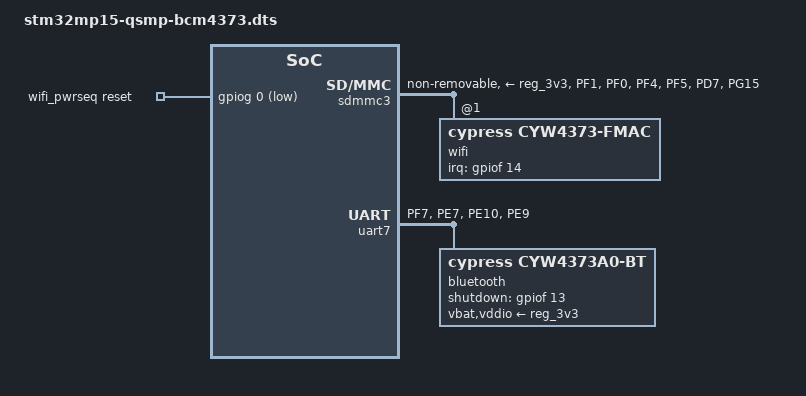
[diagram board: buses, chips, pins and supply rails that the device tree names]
// SPDX-License-Identifier: (GPL-2.0-or-later OR BSD-2-Clause)
/*
 * Copyright (C) 2024 Lothar Waßmann <LW@KARO-electronics.de>
 */

#include <dt-bindings/gpio/gpio.h>
#include <dt-bindings/interrupt-controller/irq.h>
#include <dt-bindings/pinctrl/stm32-pinfunc.h>
#include <dt-bindings/rtc/rtc-stm32.h>

/dts-v1/;

/plugin/;

#define USE_PWRSEQ

&{/} {
	aliases {
		
	};

	chosen {
		overlays {
			qsmp-bcm4373;
		};
	};

#ifdef USE_PWRSEQ
	wifi_pwrseq: wifi-pwrseq {
		compatible = "mmc-pwrseq-simple";
		reset-gpios = <&gpiog 0 GPIO_ACTIVE_LOW>;
	};
#else
	sdio_regulator: regulator-sdio {
		compatible = "regulator-fixed";
		vin-supply = <&reg_3v3>;
		gpios = <&gpiog 0 GPIO_ACTIVE_HIGH>;
		enable-active-high;
		regulator-name = "vdd-sdio";
		regulator-min-microvolt = <3300000>;
		regulator-max-microvolt = <3300000>;
	};
#endif
};

&rtc {
	pinctrl-names = "default";
	pinctrl-0 = <&rtc_pins>;
	st,lsco = <RTC_OUT1>;
};

&sdmmc3 {
	pinctrl-names = "default", "opendrain", "sleep";
	pinctrl-0 = <&qsmp_sdio_pins>;
	pinctrl-1 = <&qsmp_sdio_opendrain_pins>;
	pinctrl-2 = <&qsmp_sdio_sleep_pins>;
	#address-cells = <1>;
	#size-cells = <0>;
#ifndef USE_PWRSEQ
	vmmc-supply = <&sdio_regulator>;
#else
	vmmc-supply = <&reg_3v3>;
	mmc-pwrseq = <&wifi_pwrseq>;
#endif
	no-1-8-v;
	st,neg-edge;
	non-removable;
	cap-sdio-irq;
	max-frequency = <50000000>;
	status = "okay";
	wifi@1 {
		reg = <1>;
		compatible = "cypress,cyw4373-fmac";
		interrupt-parent = <&gpiof>;
		interrupts = <14 IRQ_TYPE_EDGE_FALLING>;
		interrupt-names = "host-wake";
		brcm,ccode-map = "JP-JP-78", "US-Q2-86";
	};
};

&uart7 {
	pinctrl-names = "default", "sleep";
	pinctrl-0 = <&qsmp_uart7_pins &qsmp_uart7_rtscts_pins>;
	pinctrl-1 = <&qsmp_uart7_sleep_pins &qsmp_uart7_rtscts_sleep_pins>;
	uart-has-rtscts;
	status = "okay";

	bluetooth {
		shutdown-gpios = <&gpiof 13 GPIO_ACTIVE_HIGH>;
		compatible = "cypress,cyw4373a0-bt";
		max-speed = <3000000>;
		vbat-supply = <&reg_3v3>;
		vddio-supply = <&reg_3v3>;
	};
};

&pinctrl {
	qsmp_sdio_pins: qsmp-sdio-pins {
		pins1 {
			pinmux = <
				  STM32_PINMUX('F', 1, AF9)	/* SDMMC3_CMD */
				  STM32_PINMUX('F', 0, AF9)	/* SDMMC3_D0 */
				  STM32_PINMUX('F', 4, AF9)	/* SDMMC3_D1 */
				  STM32_PINMUX('F', 5, AF9)	/* SDMMC3_D2 */
				  STM32_PINMUX('D', 7, AF10)	/* SDMMC3_D3 */
			>;
			bias-disable;
			drive-push-pull;
			slew-rate = <1>;
		};

		pins2 {
			pinmux = <STM32_PINMUX('G', 15, AF10)>; /* SDMMC3_CK */
			bias-disable;
			drive-push-pull;
			slew-rate = <1>;
		};
	};

	qsmp_sdio_opendrain_pins: qsmp-sdio-opendrain-pins {
		pins1 {
			pinmux = <
				  STM32_PINMUX('F', 0, AF9)	/* SDMMC3_D0 */
				  STM32_PINMUX('F', 4, AF9)	/* SDMMC3_D1 */
				  STM32_PINMUX('F', 5, AF9)	/* SDMMC3_D2 */
				  STM32_PINMUX('D', 7, AF10)	/* SDMMC3_D3 */
			>;
			bias-disable;
			drive-push-pull;
			slew-rate = <1>;
		};

		pins2 {
			pinmux = <STM32_PINMUX('F', 1, AF9)>; /* SDMMC3_CMD */
			bias-disable;
			drive-open-drain;
			slew-rate = <1>;
		};

		pins3 {
			pinmux = <STM32_PINMUX('G', 15, AF10)>; /* SDMMC3_CK */
			bias-disable;
			drive-push-pull;
			slew-rate = <1>;
		};
	};

	qsmp_sdio_sleep_pins: qsmp-sdio-sleep-pins {
		pins {
			pinmux = <
				  STM32_PINMUX('F', 1, ANALOG)	/* SDMMC3_CMD */
				  STM32_PINMUX('F', 0, ANALOG)	/* SDMMC3_D0 */
				  STM32_PINMUX('F', 4, ANALOG)	/* SDMMC3_D1 */
				  STM32_PINMUX('F', 5, ANALOG)	/* SDMMC3_D2 */
				  STM32_PINMUX('D', 7, ANALOG)	/* SDMMC3_D3 */
				  STM32_PINMUX('G', 15, ANALOG)	/* SDMMC3_CK */
			>;
		};
	};

	rtc_pins: rtc-pins {
		pins {
			pinmux = <
				  STM32_PINMUX('C', 13, ANALOG)	/* RTC_LSCO */
			>;
		};
	};

	qsmp_uart7_pins: qsmp-uart7-pins {
		pins1 {
			pinmux = <STM32_PINMUX('F', 7, AF7)>; /* UART7_TX */
			bias-disable;
			drive-push-pull;
			slew-rate = <0>;
		};

		pins2 {
			pinmux = <STM32_PINMUX('E', 7, AF7)>; /* UART7_RX */
			bias-pull-up;
		};
	};

	qsmp_uart7_rtscts_pins: qsmp-uart7-rtscts-pins {
		pins1 {
			pinmux = <
				  STM32_PINMUX('E', 10, AF7) /* UART7_CTS */
			>;
			bias-pull-up;
		};

		pins2 {
			pinmux = <
				  STM32_PINMUX('E', 9, AF7) /* UART7_RTS */
			>;
			bias-disable;
			drive-push-pull;
			slew-rate = <0>;
		};
	};

	qsmp_uart7_sleep_pins: qsmp-uart7-sleep-pins {
		pins {
			pinmux = <
				  STM32_PINMUX('F', 7, ANALOG) /* UART7_TX */
				  STM32_PINMUX('E', 7, ANALOG) /* UART7_RX */
			>;
		};
	};

	qsmp_uart7_rtscts_sleep_pins: qsmp-uart7-rtscts-sleep-pins {
		pins {
			pinmux = <
				  STM32_PINMUX('E', 10, ANALOG) /* UART7_CTS */
				  STM32_PINMUX('E', 9, ANALOG) /* UART7_RTS */
			>;
		};
	};
};
